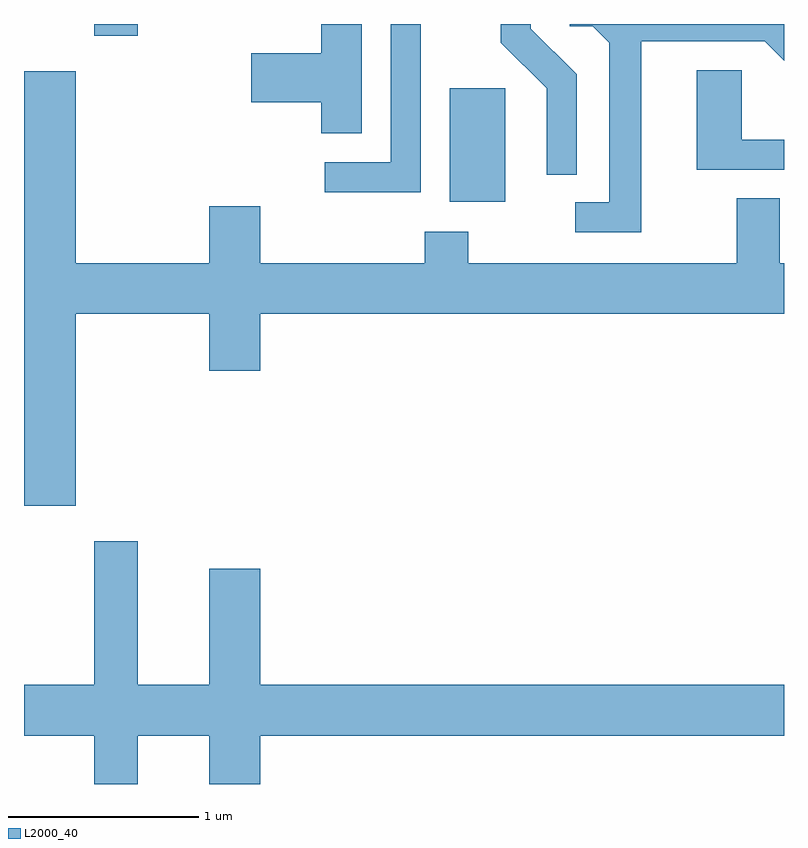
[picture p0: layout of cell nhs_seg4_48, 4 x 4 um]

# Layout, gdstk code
import gdstk
lib = gdstk.Library(unit=1e-6, precision=1e-09)
def R(c, l, rs):  # rectangles x0, y0, x1, y1
    for r in rs: c.add(gdstk.rectangle(r[:2], r[2:], *l))
def P(c, l, *ps):  # polygons
    for p in ps: c.add(gdstk.Polygon(p, *l))
L2000_40 = (2000, 40)

nhs_seg4_48 = lib.new_cell('nhs_seg4_48')
R(nhs_seg4_48, L2000_40, [(187.851,1353.046,188.144,1353.644), (185.981,1353.921,186.209,1353.982)])
P(nhs_seg4_48, L2000_40, [(188.859,1353.891),(189.509,1353.891),(189.611,1353.789),(189.611,1353.982),(188.483,1353.982),(188.483,1353.971),(188.604,1353.971),(188.691,1353.884),(188.691,1353.044),(188.513,1353.044),(188.513,1352.886),(188.859,1352.886)],
  [(187.389,1353.982),(187.176,1353.982),(187.176,1353.829),(186.806,1353.829),(186.806,1353.571),(187.176,1353.571),(187.176,1353.406),(187.389,1353.406)],
  [(187.699,1353.982),(187.541,1353.982),(187.541,1353.254),(187.193,1353.254),(187.193,1353.096),(187.699,1353.096)],
  [(188.519,1353.717),(188.279,1353.957),(188.279,1353.982),(188.121,1353.982),(188.121,1353.884),(188.361,1353.644),(188.361,1353.188),(188.519,1353.188)],
  [(189.611,1353.374),(189.389,1353.374),(189.389,1353.739),(189.151,1353.739),(189.151,1353.216),(189.611,1353.216)],
  [(185.884,1352.456),(186.586,1352.456),(186.586,1352.156),(186.854,1352.156),(186.854,1352.456),(189.611,1352.456),(189.611,1352.724),(189.589,1352.724),(189.589,1353.064),(189.361,1353.064),(189.361,1352.724),(187.949,1352.724),(187.949,1352.889),(187.721,1352.889),(187.721,1352.724),(186.854,1352.724),(186.854,1353.024),(186.586,1353.024),(186.586,1352.724),(185.884,1352.724),(185.884,1353.734),(185.611,1353.734),(185.611,1351.446),(185.884,1351.446)],
  [(186.209,1350.236),(186.586,1350.236),(186.586,1349.982),(186.854,1349.982),(186.854,1350.236),(189.611,1350.236),(189.611,1350.504),(186.854,1350.504),(186.854,1351.114),(186.586,1351.114),(186.586,1350.504),(186.209,1350.504),(186.209,1351.259),(185.981,1351.259),(185.981,1350.504),(185.611,1350.504),(185.611,1350.236),(185.981,1350.236),(185.981,1349.982),(186.209,1349.982)])

lib.write_gds('nhs_seg4_48.gds')
